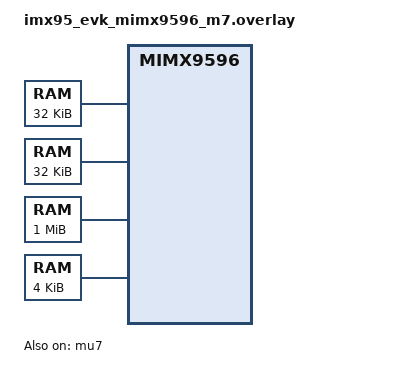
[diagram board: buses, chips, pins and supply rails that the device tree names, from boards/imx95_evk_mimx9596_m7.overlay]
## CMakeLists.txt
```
# SPDX-License-Identifier: Apache-2.0

cmake_minimum_required(VERSION 3.20.0)

find_package(Zephyr REQUIRED HINTS $ENV{ZEPHYR_BASE})
project(smp_ipc)

target_sources(app PRIVATE src/main.c)
```

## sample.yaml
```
sample:
  name: smp over ipc
  description: MCUmgr SMP server over the IPC service
tests:
  sample.rproc_ipc.smp_ipc:
    platform_allow:
      - imx95_evk/mimx9596/m7
    integration_platforms:
      - imx95_evk/mimx9596/m7
    build_only: true
    tags:
      - ipc
      - remoteproc
```

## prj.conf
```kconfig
CONFIG_REMOTEPROC=y
CONFIG_OPENAMP=y
CONFIG_OPENAMP_MASTER=n
CONFIG_IPC_SERVICE=y

CONFIG_MCUMGR=y
CONFIG_NET_BUF=y
CONFIG_ZCBOR=y
CONFIG_MCUMGR_TRANSPORT_IPC=y
CONFIG_MCUMGR_TRANSPORT_NETBUF_SIZE=2048
CONFIG_MCUMGR_GRP_OS=y
CONFIG_MCUMGR_GRP_OS_ECHO=y
CONFIG_MCUMGR_GRP_OS_MCUMGR_PARAMS=y

CONFIG_LOG=y
CONFIG_CONSOLE=y
CONFIG_UART_CONSOLE=y
CONFIG_PRINTK=y
CONFIG_HEAP_MEM_POOL_SIZE=4096
CONFIG_MAIN_STACK_SIZE=2048
CONFIG_SYSTEM_WORKQUEUE_STACK_SIZE=2048
```

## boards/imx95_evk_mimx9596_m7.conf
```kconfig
CONFIG_CLOCK_CONTROL=y
CONFIG_ARM_SCMI=y
CONFIG_MBOX=y
CONFIG_MBOX_NXP_IMX_MU=y
CONFIG_MBOX_INIT_PRIORITY=0
CONFIG_OPENAMP_WITH_DCACHE=y
```

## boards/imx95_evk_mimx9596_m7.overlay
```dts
/*
 * SPDX-License-Identifier: Apache-2.0
 *
 * i.MX95 Cortex-M7 as a Linux remoteproc remote. Addresses, sizes and names
 * match the reserved-memory nodes in NXP's Linux devicetree for the i.MX95
 * EVK and FRDM-IMX95 (vdev0vring0, vdev0vring1, vdevbuffer, rsc-table): the
 * carveout names must equal the Linux node names, or Linux allocates a second
 * carveout of its own for each one instead of using the reserved region.
 */

/ {
	chosen {
		openamp,resource-table = &rsc_table;
		zephyr,ipc-mcumgr = &ipc0;
	};

	ipc0: ipc {
		compatible = "zephyr,ipc-rproc-rpmsg";
		rpmsg-device = <&vdev0>;
	};

	vdev0vring0: memory@88000000 {
		compatible = "zephyr,memory-region";
		zephyr,memory-region = "vdev0vring0";
		reg = <0x88000000 0x8000>;
	};

	vdev0vring1: memory@88008000 {
		compatible = "zephyr,memory-region";
		zephyr,memory-region = "vdev0vring1";
		reg = <0x88008000 0x8000>;
	};

	vdevbuffer: memory@88020000 {
		compatible = "zephyr,memory-region";
		zephyr,memory-region = "vdevbuffer";
		reg = <0x88020000 0x100000>;
	};

	rsc_table_mem: memory@88220000 {
		compatible = "zephyr,memory-region";
		zephyr,memory-region = "rsc-table";
		reg = <0x88220000 0x1000>;
	};

	remoteproc {
		rsc_table: resource-table {
			compatible = "openamp,resource-table";
			carveouts = <&vdev0vring0 &vdev0vring1 &vdevbuffer>;
			vdevs = <&vdev0>;
			/* Linux reads and updates the table here, not where it is linked. */
			memory-region = <&rsc_table_mem>;
		};

		vrings {
			#address-cells = <1>;
			#size-cells = <0>;

			vdev0_tx: vring@0 {
				compatible = "openamp,vring";
				reg = <0>;
				#vring-cells = <0>;
				notify-id = <0>;
				device-address = <0x88000000>;
				memory-region = <&vdev0vring0>;
				num-buffers = <8>;
				mboxes = <&mu7 1>;
			};

			vdev0_rx: vring@1 {
				compatible = "openamp,vring";
				reg = <1>;
				#vring-cells = <0>;
				notify-id = <1>;
				device-address = <0x88008000>;
				memory-region = <&vdev0vring1>;
				num-buffers = <8>;
				mboxes = <&mu7 1>;
			};
		};

		vdevs {
			#address-cells = <1>;
			#size-cells = <0>;

			vdev0: vdev@0 {
				compatible = "openamp,rpmsg-virtio-device";
				reg = <0>;
				vrings = <&vdev0_tx &vdev0_rx>;
				vring-names = "tx", "rx";
				memory-region = <&vdevbuffer>;
			};
		};
	};
};

&mu7 {
	status = "okay";
};
```

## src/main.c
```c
/*
 * SPDX-License-Identifier: Apache-2.0
 *
 * MCUmgr over the IPC service: the SMP transport registers its own endpoint,
 * so there is nothing to do here but boot.
 */

#include <zephyr/logging/log.h>

LOG_MODULE_REGISTER(smp_ipc_sample, LOG_LEVEL_INF);

int main(void)
{
	LOG_INF("MCUmgr SMP server over IPC");
	return 0;
}
```
